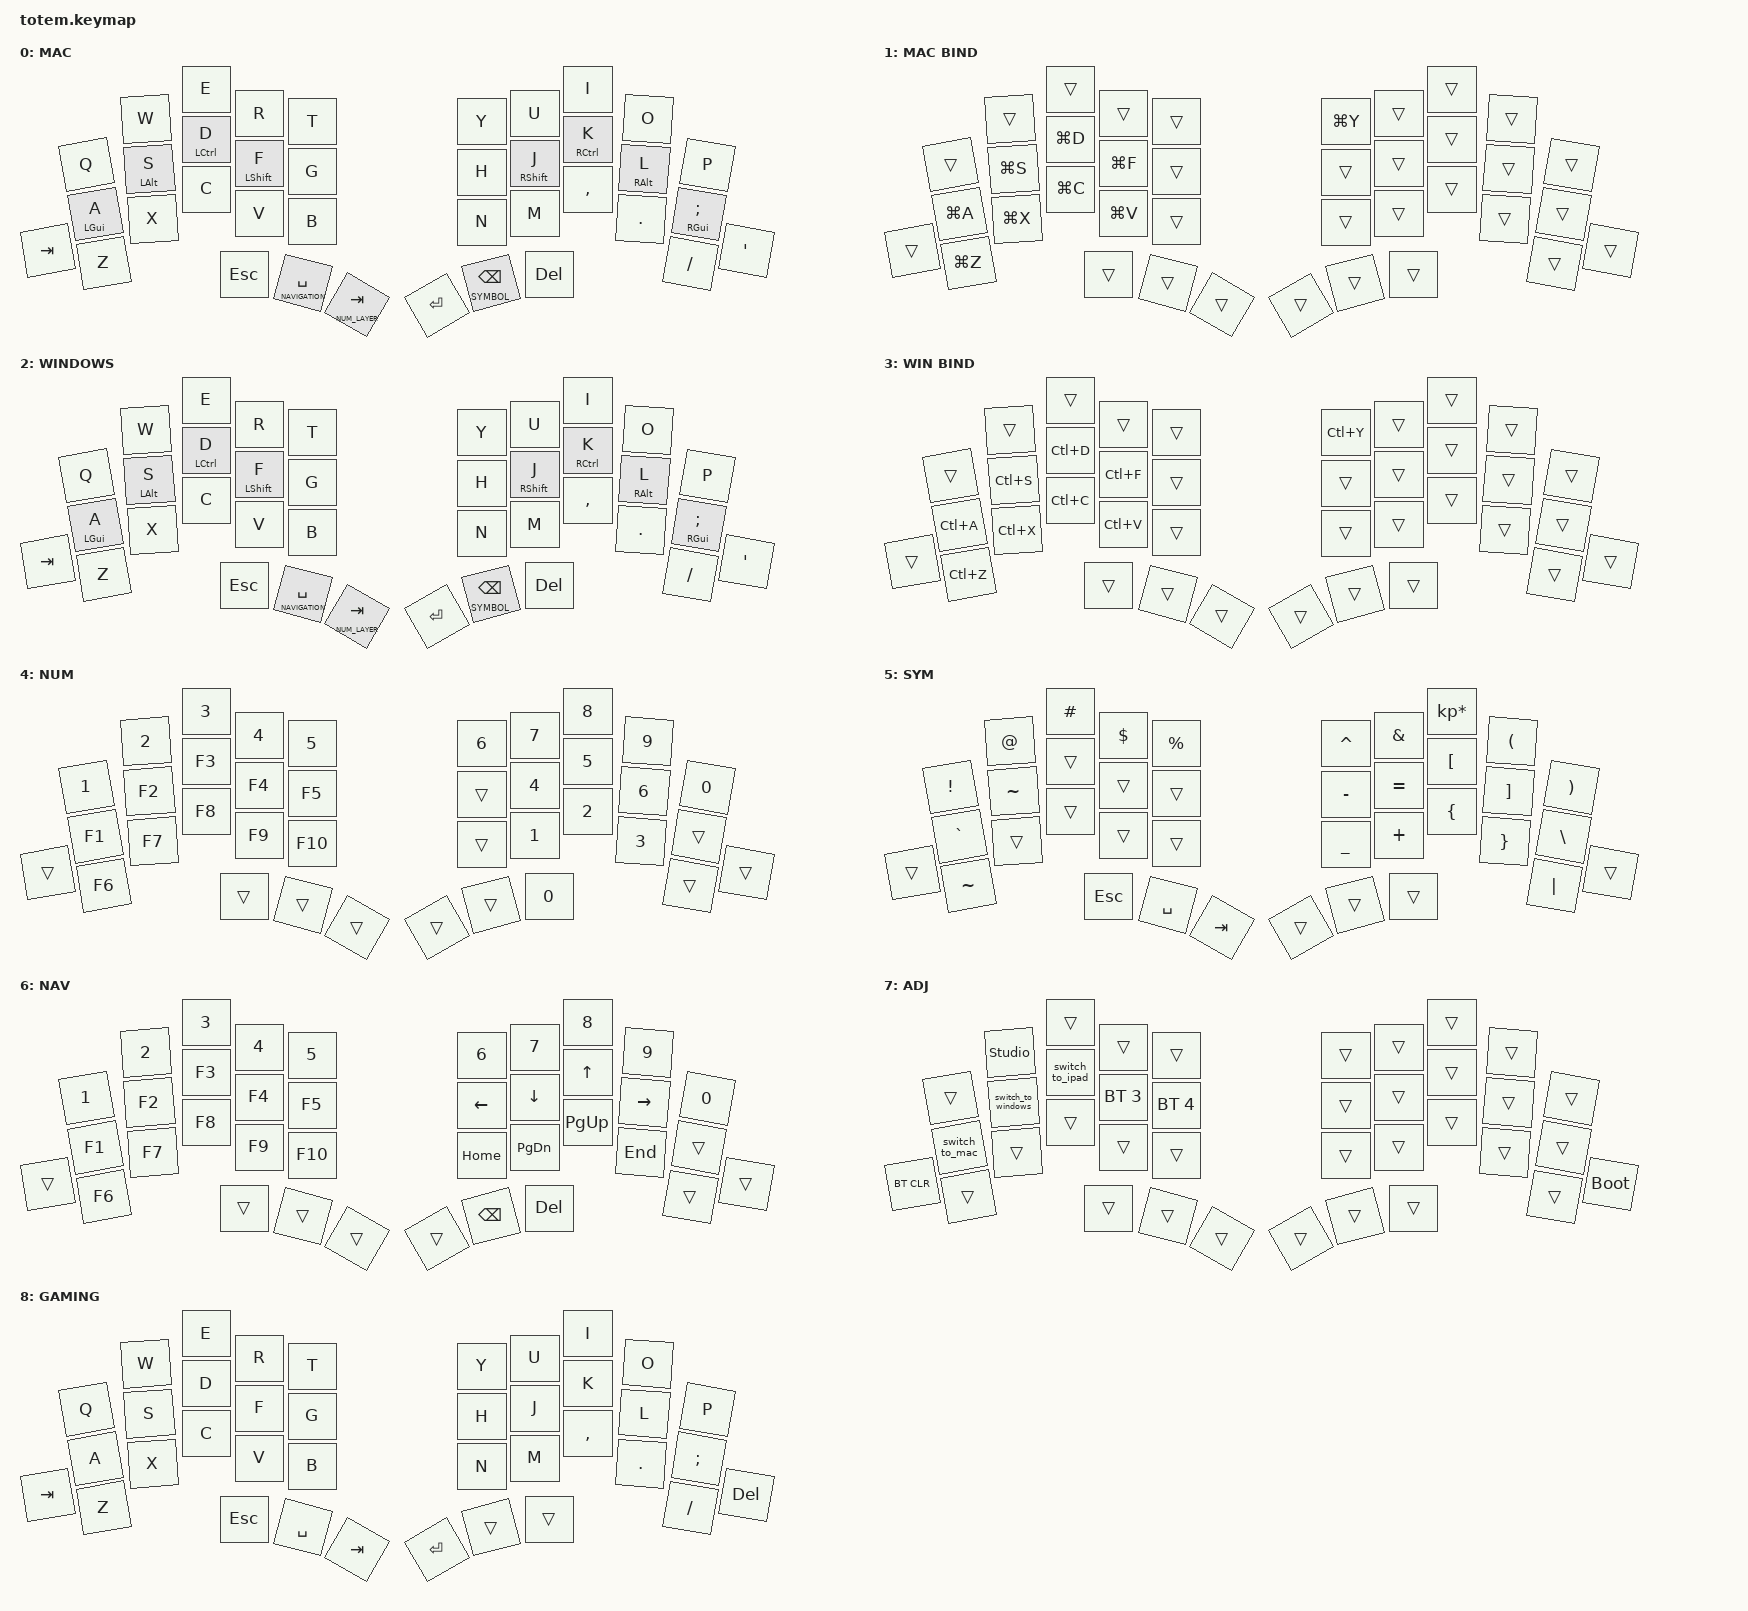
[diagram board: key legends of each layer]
//
//                                                        ▀▀▀▀▀     ▀▀▀▀▀          ▀▀█▀▀
//                                                        ▄▀▀▀▄  ▄  ▄▀▀▀▄  ▄  ▄▀▀▀▄  █  ▄▀▀▀▄
//                                                        █   █  █  █   █  █  █   █  █  █   █
//                                                         ▀▀▀   █   ▀▀▀   █   ▀▀▀   ▀   ▀▀▀
//                                                               █      ▄▄▄█▄▄▄    █   █  
//                                                               ▀      █  █  █     █▄█
//                                                             ▀▀▀▀▀    █  █  █      ▀
//                                                                      ▀  ▀  ▀
//
// ▄▄▄▄▄▄▄▄▄▄▄▄▄▄▄▄▄▄▄▄▄▄▄▄▄▄▄▄▄▄▄▄▄▄▄▄▄▄▄▄▄▄▄▄▄▄▄▄▄▄▄▄▄▄▄▄▄▄▄▄▄▄▄▄▄▄▄▄▄▄▄▄▄▄▄▄▄▄▄▄▄▄▄▄▄▄▄▄▄▄▄▄▄▄▄▄▄▄▄▄▄▄▄▄▄▄▄▄▄▄▄▄▄▄▄▄▄▄▄▄▄▄▄▄▄▄▄▄▄▄▄▄▄▄▄▄▄▄▄▄▄▄▄▄▄▄▄▄▄
       
/*
 * TOTEM 38-KEY LAYOUT - KEY POSITION MAPPING
 * 
 * This mapping is based on the matrix transform in totem.dtsi:
 * Keys are numbered 0-37 from left to right, top to bottom
 * 
 * Physical Layout:
 * ┌─────┬─────┬─────┬─────┬─────┐       ┌─────┬─────┬─────┬─────┬─────┐
 * │  0  │  1  │  2  │  3  │  4  │       │  5  │  6  │  7  │  8  │  9  │
 * ├─────┼─────┼─────┼─────┼─────┤       ├─────┼─────┼─────┼─────┼─────┤
 * │ 10  │ 11  │ 12  │ 13  │ 14  │       │ 15  │ 16  │ 17  │ 18  │ 19  │
 * ├─────┼─────┼─────┼─────┼─────┼─────┐ ┌─────┼─────┼─────┼─────┼─────┼─────┤
 * │ 20  │ 21  │ 22  │ 23  │ 24  │ 25  │ │ 26  │ 27  │ 28  │ 29  │ 30  │ 31  │
 * └─────┴─────┴─────┼─────┼─────┼─────┤ ├─────┼─────┼─────┼─────┴─────┴─────┘
 *                   │ 32  │ 33  │ 34  │ │ 35  │ 36  │ 37  │
 *                   └─────┴─────┴─────┘ └─────┴─────┴─────┘
 * 
 * Matrix Transform (from totem.dtsi):
 * Row 0: RC(0,0) RC(0,1) RC(0,2) RC(0,3) RC(0,4)    RC(0,5) RC(0,6) RC(0,7) RC(0,8) RC(0,9)
 * Row 1: RC(1,0) RC(1,1) RC(1,2) RC(1,3) RC(1,4)    RC(1,5) RC(1,6) RC(1,7) RC(1,8) RC(1,9)
 * Row 2: RC(3,0) RC(2,0) RC(2,1) RC(2,2) RC(2,3) RC(2,4)    RC(2,5) RC(2,6) RC(2,7) RC(2,8) RC(2,9) RC(3,9)
 * Row 3:                         RC(3,2) RC(3,3) RC(3,4)    RC(3,5) RC(3,6) RC(3,7)
 * 
 * This translates to key positions:
 * Row 0: 0, 1, 2, 3, 4,    5, 6, 7, 8, 9
 * Row 1: 10, 11, 12, 13, 14,    15, 16, 17, 18, 19
 * Row 2: 20, 21, 22, 23, 24, 25,    26, 27, 28, 29, 30, 31
 * Row 3:             32, 33, 34,    35, 36, 37
 */

#include <behaviors.dtsi>
#include <dt-bindings/zmk/keys.h>
#include <dt-bindings/zmk/bt.h>
#include <dt-bindings/zmk/outputs.h>

#define MAC 0
#define MAC_BINDINGS 1
#define WINDOWS 2
#define WINDOWS_BINDINGS 3
#define NUM_LAYER   4
#define SYMBOL  5
#define NAVIGATION  6
#define ADJUST  7
#define GAMING  8

// Key position definitions for TOTEM 38-key layout
// These aliases match the physical layout shown above
// Left side: 0 = innermost (closest to center), 4 = outermost
#define LT0  4  // left-top row (innermost)
#define LT1  3
#define LT2  2
#define LT3  1
#define LT4  0  // left-top row (outermost)

#define RT0  5  // right-top row
#define RT1  6
#define RT2  7
#define RT3  8
#define RT4  9

#define LM0  14 // left-middle row (innermost)
#define LM1  13
#define LM2  12
#define LM3  11
#define LM4  10 // left-middle row (outermost)

#define RM0  15 // right-middle row
#define RM1  16
#define RM2  17
#define RM3  18
#define RM4  19

#define LB0  25 // left-bottom row (innermost including outer key)
#define LB1  24
#define LB2  23
#define LB3  22
#define LB4  21
#define LB5  20 // left-bottom row (outermost)

#define RB0  26 // right-bottom row (includes outer key)
#define RB1  27
#define RB2  28
#define RB3  29
#define RB4  30
#define RB5  31

#define LH0  34 // left thumb keys
#define LH1  33
#define LH2  32

#define RH0  35 // right thumb keys
#define RH1  36
#define RH2  37

&mt {
  quick-tap-ms = <100>;
  global-quick-tap;
  flavor = "tap-preferred";
  tapping-term-ms = <170>;
};

/ {
        conditional_layers {
                compatible = "zmk,conditional-layers";
                        tri_layer {
                        if-layers = <NUM_LAYER SYMBOL>;
                        then-layer = <ADJUST>;
                };
        };

        behaviors {
                hml: home_row_mod_left {
                        compatible = "zmk,behavior-hold-tap";
                        label = "HOME_ROW_MOD_LEFT";
                        #binding-cells = <2>;
                        flavor = "balanced";
                        tapping-term-ms = <280>;
                        quick-tap-ms = <175>;
                        bindings = <&kp>, <&kp>;
                        hold-trigger-key-positions = <
                                RT0 RT1 RT2 RT3 RT4      // right top row
                                RM0 RM1 RM2 RM3 RM4      // right middle row
                                RB0 RB1 RB2 RB3 RB4 RB5  // right bottom row
                                RH0 RH1 RH2              // right thumb keys
                        >;
                        hold-trigger-on-release;
                };
                hmr: home_row_mod_right {
                        compatible = "zmk,behavior-hold-tap";
                        label = "HOME_ROW_MOD_RIGHT";
                        #binding-cells = <2>;
                        flavor = "balanced";
                        tapping-term-ms = <280>;
                        quick-tap-ms = <175>;
                        bindings = <&kp>, <&kp>;
                        hold-trigger-key-positions = <
                                LT0 LT1 LT2 LT3 LT4      // left top row
                                LM0 LM1 LM2 LM3 LM4      // left middle row
                                LB0 LB1 LB2 LB3 LB4 LB5  // left bottom row
                                LH0 LH1 LH2              // left thumb keys
                        >;
                        hold-trigger-on-release;
                };
                lt_thumb: layer_tap_thumb {
                        compatible = "zmk,behavior-hold-tap";
                        label = "LAYER_TAP_THUMB";
                        #binding-cells = <2>;
                        tapping-term-ms = <200>;
                        flavor = "balanced";
                        hold-trigger-key-positions = <0 1 2 3 4 5 6 7 8 9 10 11 12 13 14 15 16 17 18 19 20 21 22 23 24 25 26 27 28 29 30 31>;
                        hold-trigger-on-release;
                        retro-tap;
                        global-quick-tap;
                        bindings = <&mo>, <&kp>;
                };
        };

        macros {
                ZMK_MACRO(switch_to_mac, bindings= <&bt BT_SEL 0 &to MAC>;)
                ZMK_MACRO(switch_to_ipad, bindings= <&bt BT_SEL 2 &to MAC>;)
                ZMK_MACRO(switch_to_windows, bindings= <&bt BT_SEL 1 &to WINDOWS>;)
                ZMK_MACRO(toggle_gaming, bindings= <&tog GAMING>;)

                win_app_sw: win_app_sw {
                        label = "WINDOWS_APP_SWITCHER";
                        compatible = "zmk,behavior-macro";
                        #binding-cells = <0>;
                        bindings
                                = <&macro_press &kp LALT>
                                , <&macro_tap &kp TAB>
                                , <&macro_press &mo NAVIGATION>
                                , <&macro_pause_for_release>
                                , <&macro_release &mo NAVIGATION>
                                , <&macro_release &kp LALT>
                                ;
                };     

                mac_app_sw: mac_app_sw {
                        label = "MAC_APP_SWITCHER";
                        compatible = "zmk,behavior-macro";
                        #binding-cells = <0>;
                        bindings
                                = <&macro_press &kp LGUI>
                                , <&macro_tap &kp TAB>
                                , <&macro_press &mo NAVIGATION>
                                , <&macro_pause_for_release>
                                , <&macro_release &mo NAVIGATION>
                                , <&macro_release &kp LGUI>
                                ;
                };  
        };

        combos {
                compatible = "zmk,combos";
                combo_spotlight {         
                        timeout-ms = <50>;
                        key-positions = <LH0 RH0>;
                        bindings = <&kp LG(SPACE)>;
                        layers = <MAC>;
                };

                combo_sticky_shift_mac {
                        timeout-ms = <50>;
                        key-positions = <RT1 RT3>;  // U and O keys
                        bindings = <&sk LSHFT>;
                        layers = <MAC>;
                };

                combo_caps_word_mac {
                        timeout-ms = <50>;
                        key-positions = <RT1 RT2 RT3>;  // U, I, and O keys
                        bindings = <&caps_word>;
                        layers = <MAC>;
                };

                combo_spotlight_windows {         
                        timeout-ms = <50>;
                        key-positions = <LH0 RH0>;
                        bindings = <&kp LA(SPACE)>;
                        layers = <WINDOWS>;
                };

                combo_sticky_shift_windows {
                        timeout-ms = <50>;
                        key-positions = <RT1 RT3>;  // U and O keys
                        bindings = <&sk LSHFT>;
                        layers = <WINDOWS>;
                };

                combo_caps_word_windows {
                        timeout-ms = <50>;
                        key-positions = <RT1 RT2 RT3>;  // U, I, and O keys
                        bindings = <&caps_word>;
                        layers = <WINDOWS>;
                };

                combo_app_switcher_windows {         
                        timeout-ms = <50>;
                        key-positions = <LM4 LM3 LM2 LM1>;
                        bindings = <&win_app_sw>;
                        layers = <WINDOWS>;
                };

                combo_copy_windows {         
                        timeout-ms = <50>;
                        key-positions = <LB3 LB2>;
                        bindings = <&kp LC(C)>;
                        layers = <WINDOWS>;
                };
                combo_paste_windows {         
                        timeout-ms = <50>;
                        key-positions = <LB2 LB1>;
                        bindings = <&kp LC(V)>;
                        layers = <WINDOWS>;
                };
                combo_cut_windows {         
                        timeout-ms = <50>;
                        key-positions = <LB3 LB1>;
                        bindings = <&kp LC(X)>;
                        layers = <WINDOWS>;
                };
                combo_undo_windows {         
                        timeout-ms = <50>;
                        key-positions = <LB4 LB3>;
                        bindings = <&kp LC(Z)>;
                        layers = <WINDOWS>;
                };
                combo_select_windows {         
                        timeout-ms = <50>;
                        key-positions = <LM4 LM1>;
                        bindings = <&kp LC(A)>;
                        layers = <WINDOWS>;
                };
                combo_find_windows {         
                        timeout-ms = <50>;
                        key-positions = <LM2 LM1>;
                        bindings = <&kp LC(F)>;
                        layers = <WINDOWS>;
                };
                combo_close_window_windows {         
                        timeout-ms = <50>;
                        key-positions = <LT3 LT1>;
                        bindings = <&kp LC(W)>;
                        layers = <WINDOWS>;
                };
                
                combo_app_switcher_mac {         
                        timeout-ms = <50>;
                        key-positions = <LM4 LM3 LM2 LM1>;
                        bindings = <&mac_app_sw>;
                        layers = <MAC>;
                };
                
                combo_copy_mac {         
                        timeout-ms = <50>;
                        key-positions = <LB3 LB2>;
                        bindings = <&kp LG(C)>;
                        layers = <MAC>;
                };
                combo_paste_mac {         
                        timeout-ms = <50>;
                        key-positions = <LB2 LB1>;
                        bindings = <&kp LG(V)>;
                        layers = <MAC>;
                };
                combo_cut_mac {         
                        timeout-ms = <50>;
                        key-positions = <LB3 LB1>;
                        bindings = <&kp LG(X)>;
                        layers = <MAC>;
                };
                combo_undo_mac {         
                        timeout-ms = <50>;
                        key-positions = <LB4 LB3>;
                        bindings = <&kp LG(Z)>;
                        layers = <MAC>;
                };
                combo_select_mac {         
                        timeout-ms = <50>;
                        key-positions = <LM4 LM1>;
                        bindings = <&kp LG(A)>;
                        layers = <MAC>;
                };
                combo_find_mac {         
                        timeout-ms = <50>;
                        key-positions = <LM2 LM1>;
                        bindings = <&kp LG(F)>;
                        layers = <MAC>;
                };
                combo_close_window_mac {
                        timeout-ms = <50>;
                        key-positions = <LT3 LT1>;
                        bindings = <&kp LG(W)>;
                        layers = <MAC>;
                };

                combo_toggle_gaming {
                        timeout-ms = <50>;
                        key-positions = <LH2 RH2>;
                        bindings = <&toggle_gaming>;
                        layers = <WINDOWS GAMING>;
                };
        };

        keymap {
                compatible = "zmk,keymap";

// ▄▄▄▄▄▄▄▄▄▄▄▄▄▄▄▄▄▄▄▄▄▄▄▄▄▄▄▄▄▄▄▄▄▄▄▄▄▄▄▄▄▄▄▄▄▄▄▄▄▄▄▄▄▄▄▄▄▄▄▄▄▄▄▄▄▄▄▄▄▄▄▄▄▄▄▄▄▄▄▄▄▄▄▄▄▄▄▄▄▄▄▄▄▄▄▄▄▄▄▄▄▄▄▄▄▄▄▄▄▄▄▄▄▄▄▄▄▄▄▄▄▄▄▄▄▄▄▄▄▄▄▄▄▄▄▄▄▄▄▄▄▄▄▄▄▄▄▄▄

                mac_layer {
// ┏━━━━━━━━━━━━━━━━━━━━━━━━━━━━━━━━━━━━━━━┓
label= "MAC"                               ;
// ┗━━━━━━━━━━━━━━━━━━━━━━━━━━━━━━━━━━━━━━━┛
//             ┏━━━━━━━━━━━┳━━━━━━━━━━━┳━━━━━━━━━━━┳━━━━━━━━━━━┳━━━━━━━━━━━┓   ┏━━━━━━━━━━━┳━━━━━━━━━━━┳━━━━━━━━━━━┳━━━━━━━━━━━┳━━━━━━━━━━━┓
//             ┃     Q     ┃     W     ┃     E     ┃     R     ┃     T     ┃   ┃     Y     ┃     U     ┃     I     ┃     O     ┃     P     ┃
//             ┣━━━━━━━━━━━╋━━━━━━━━━━━╋━━━━━━━━━━━╋━━━━━━━━━━━╋━━━━━━━━━━━┫   ┣━━━━━━━━━━━╋━━━━━━━━━━━╋━━━━━━━━━━━╋━━━━━━━━━━━╋━━━━━━━━━━━┫
//             ┃   GUI/A   ┃   ALT/S   ┃  CTRL/D   ┃  SHFT/F   ┃     G     ┃   ┃     H     ┃  SHFT/J   ┃  CTRL/K   ┃   ALT/L   ┃   GUI/;   ┃
// ┏━━━━━━━━━━━╋━━━━━━━━━━━╋━━━━━━━━━━━╋━━━━━━━━━━━╋━━━━━━━━━━━╋━━━━━━━━━━━┫   ┣━━━━━━━━━━━╋━━━━━━━━━━━╋━━━━━━━━━━━╋━━━━━━━━━━━╋━━━━━━━━━━━╋━━━━━━━━━━━┓
// ┃    TAB    ┃     Z     ┃     X     ┃     C     ┃     V     ┃     B     ┃   ┃     N     ┃     M     ┃     ,     ┃     .     ┃     /     ┃    SQT    ┃
// ┗━━━━━━━━━━━┻━━━━━━━━━━━┻━━━━━━━━━━━╋━━━━━━━━━━━╋━━━━━━━━━━━╋━━━━━━━━━━━┫   ┣━━━━━━━━━━━╋━━━━━━━━━━━╋━━━━━━━━━━━╋━━━━━━━━━━━┻━━━━━━━━━━━┻━━━━━━━━━━━┛
//                                     ┃    ESC    ┃ NAV/SPACE ┃ NUM/TAB   ┃   ┃   RET     ┃ SYM/BSPC  ┃    DEL    ┃
//                                     ┗━━━━━━━━━━━┻━━━━━━━━━━━┻━━━━━━━━━━━┛   ┗━━━━━━━━━━━┻━━━━━━━━━━━┻━━━━━━━━━━━┛
 bindings = <
// ╷           ╷           ╷           ╷           ╷           ╷           ╷   ╷           ╷           ╷           ╷           ╷           ╷           ╷

                &kp Q       &kp W       &kp E       &kp R       &kp T           &kp Y       &kp U       &kp I       &kp O       &kp P
                &hml LGUI A &hml LALT S &hml LCTRL D &hml LSHFT F &kp G          &kp H       &hmr RSHFT J &hmr RCTRL K &hmr RALT L &hmr RGUI SEMI
    &kp TAB     &kp Z       &kp X       &kp C       &kp V       &kp B           &kp N       &kp M       &kp COMMA   &kp DOT     &kp FSLH    &kp SQT
                                        &kp ESC     &lt_thumb NAVIGATION SPACE &lt_thumb NUM_LAYER TAB &kp RET &lt_thumb SYMBOL BSPC &kp DEL
                        >;
                };

// ▄▄▄▄▄▄▄▄▄▄▄▄▄▄▄▄▄▄▄▄▄▄▄▄▄▄▄▄▄▄▄▄▄▄▄▄▄▄▄▄▄▄▄▄▄▄▄▄▄▄▄▄▄▄▄▄▄▄▄▄▄▄▄▄▄▄▄▄▄▄▄▄▄▄▄▄▄▄▄▄▄▄▄▄▄▄▄▄▄▄▄▄▄▄▄▄▄▄▄▄▄▄▄▄▄▄▄▄▄▄▄▄▄▄▄▄▄▄▄▄▄▄▄▄▄▄▄▄▄▄▄▄▄▄▄▄▄▄▄▄▄▄▄▄▄▄▄▄▄▄

                mac_bindings_layer {
// ┏━━━━━━━━━━━━━━━━━━━━━━━━━━━━━━━━━━━━━━━┓
label= "MAC BIND"                          ;
// ┗━━━━━━━━━━━━━━━━━━━━━━━━━━━━━━━━━━━━━━━┛
 bindings = <
// ╷           ╷           ╷           ╷           ╷           ╷           ╷   ╷           ╷           ╷           ╷           ╷           ╷           ╷

                &trans      &trans      &trans      &trans      &trans          &kp LG(Y)   &trans      &trans      &trans      &trans
                &kp LG(A)   &kp LG(S)   &kp LG(D)   &kp LG(F)   &trans          &trans      &trans      &trans      &trans      &trans
    &trans      &kp LG(Z)   &kp LG(X)   &kp LG(C)   &kp LG(V)   &trans          &trans      &trans      &trans      &trans      &trans      &trans
                                        &trans      &trans      &trans          &trans      &trans      &trans
                        >;
                };

// ▄▄▄▄▄▄▄▄▄▄▄▄▄▄▄▄▄▄▄▄▄▄▄▄▄▄▄▄▄▄▄▄▄▄▄▄▄▄▄▄▄▄▄▄▄▄▄▄▄▄▄▄▄▄▄▄▄▄▄▄▄▄▄▄▄▄▄▄▄▄▄▄▄▄▄▄▄▄▄▄▄▄▄▄▄▄▄▄▄▄▄▄▄▄▄▄▄▄▄▄▄▄▄▄▄▄▄▄▄▄▄▄▄▄▄▄▄▄▄▄▄▄▄▄▄▄▄▄▄▄▄▄▄▄▄▄▄▄▄▄▄▄▄▄▄▄▄▄▄

                windows_layer {
// ┏━━━━━━━━━━━━━━━━━━━━━━━━━━━━━━━━━━━━━━━┓
label= "WINDOWS"                           ;
// ┗━━━━━━━━━━━━━━━━━━━━━━━━━━━━━━━━━━━━━━━┛
//             ┏━━━━━━━━━━━┳━━━━━━━━━━━┳━━━━━━━━━━━┳━━━━━━━━━━━┳━━━━━━━━━━━┓   ┏━━━━━━━━━━━┳━━━━━━━━━━━┳━━━━━━━━━━━┳━━━━━━━━━━━┳━━━━━━━━━━━┓
//             ┃     Q     ┃     W     ┃     E     ┃     R     ┃     T     ┃   ┃     Y     ┃     U     ┃     I     ┃     O     ┃     P     ┃
//             ┣━━━━━━━━━━━╋━━━━━━━━━━━╋━━━━━━━━━━━╋━━━━━━━━━━━╋━━━━━━━━━━━┫   ┣━━━━━━━━━━━╋━━━━━━━━━━━╋━━━━━━━━━━━╋━━━━━━━━━━━╋━━━━━━━━━━━┫
//             ┃   GUI/A   ┃   ALT/S   ┃  CTRL/D   ┃  SHFT/F   ┃     G     ┃   ┃     H     ┃  SHFT/J   ┃  CTRL/K   ┃   ALT/L   ┃   GUI/;   ┃
// ┏━━━━━━━━━━━╋━━━━━━━━━━━╋━━━━━━━━━━━╋━━━━━━━━━━━╋━━━━━━━━━━━╋━━━━━━━━━━━┫   ┣━━━━━━━━━━━╋━━━━━━━━━━━╋━━━━━━━━━━━╋━━━━━━━━━━━╋━━━━━━━━━━━╋━━━━━━━━━━━┓
// ┃    TAB    ┃     Z     ┃     X     ┃     C     ┃     V     ┃     B     ┃   ┃     N     ┃     M     ┃     ,     ┃     .     ┃     /     ┃    SQT    ┃
// ┗━━━━━━━━━━━┻━━━━━━━━━━━┻━━━━━━━━━━━╋━━━━━━━━━━━╋━━━━━━━━━━━╋━━━━━━━━━━━┫   ┣━━━━━━━━━━━╋━━━━━━━━━━━╋━━━━━━━━━━━╋━━━━━━━━━━━┻━━━━━━━━━━━┻━━━━━━━━━━━┛
//                                     ┃    ESC    ┃ NAV/SPACE ┃ NUM/TAB   ┃   ┃   RET     ┃ SYM/BSPC  ┃    DEL    ┃
//                                     ┗━━━━━━━━━━━┻━━━━━━━━━━━┻━━━━━━━━━━━┛   ┗━━━━━━━━━━━┻━━━━━━━━━━━┻━━━━━━━━━━━┛
 bindings = <
// ╷           ╷           ╷           ╷           ╷           ╷           ╷   ╷           ╷           ╷           ╷           ╷           ╷           ╷

                &kp Q       &kp W       &kp E       &kp R       &kp T           &kp Y       &kp U       &kp I       &kp O       &kp P
                &hml LGUI A &hml LALT S &hml LCTRL D &hml LSHFT F &kp G          &kp H       &hmr RSHFT J &hmr RCTRL K &hmr RALT L &hmr RGUI SEMI
    &kp TAB     &kp Z       &kp X       &kp C       &kp V       &kp B           &kp N       &kp M       &kp COMMA   &kp DOT     &kp FSLH    &kp SQT
                                        &kp ESC     &lt_thumb NAVIGATION SPACE &lt_thumb NUM_LAYER TAB &kp RET &lt_thumb SYMBOL BSPC &kp DEL
                        >;
                };

// ▄▄▄▄▄▄▄▄▄▄▄▄▄▄▄▄▄▄▄▄▄▄▄▄▄▄▄▄▄▄▄▄▄▄▄▄▄▄▄▄▄▄▄▄▄▄▄▄▄▄▄▄▄▄▄▄▄▄▄▄▄▄▄▄▄▄▄▄▄▄▄▄▄▄▄▄▄▄▄▄▄▄▄▄▄▄▄▄▄▄▄▄▄▄▄▄▄▄▄▄▄▄▄▄▄▄▄▄▄▄▄▄▄▄▄▄▄▄▄▄▄▄▄▄▄▄▄▄▄▄▄▄▄▄▄▄▄▄▄▄▄▄▄▄▄▄▄▄▄▄

                windows_bindings_layer {
// ┏━━━━━━━━━━━━━━━━━━━━━━━━━━━━━━━━━━━━━━━┓
label= "WIN BIND"                          ;
// ┗━━━━━━━━━━━━━━━━━━━━━━━━━━━━━━━━━━━━━━━┛
 bindings = <
// ╷           ╷           ╷           ╷           ╷           ╷           ╷   ╷           ╷           ╷           ╷           ╷           ╷           ╷

                &trans      &trans      &trans      &trans      &trans          &kp LC(Y)   &trans      &trans      &trans      &trans
                &kp LC(A)   &kp LC(S)   &kp LC(D)   &kp LC(F)   &trans          &trans      &trans      &trans      &trans      &trans
    &trans      &kp LC(Z)   &kp LC(X)   &kp LC(C)   &kp LC(V)   &trans          &trans      &trans      &trans      &trans      &trans      &trans
                                        &trans      &trans      &trans          &trans      &trans      &trans
                        >;
                };

// ▄▄▄▄▄▄▄▄▄▄▄▄▄▄▄▄▄▄▄▄▄▄▄▄▄▄▄▄▄▄▄▄▄▄▄▄▄▄▄▄▄▄▄▄▄▄▄▄▄▄▄▄▄▄▄▄▄▄▄▄▄▄▄▄▄▄▄▄▄▄▄▄▄▄▄▄▄▄▄▄▄▄▄▄▄▄▄▄▄▄▄▄▄▄▄▄▄▄▄▄▄▄▄▄▄▄▄▄▄▄▄▄▄▄▄▄▄▄▄▄▄▄▄▄▄▄▄▄▄▄▄▄▄▄▄▄▄▄▄▄▄▄▄▄▄▄▄▄▄

                num_layer {
// ┏━━━━━━━━━━━━━━━━━━━━━━━━━━━━━━━━━━━━━━━┓
label= "NUM"                               ;
// ┗━━━━━━━━━━━━━━━━━━━━━━━━━━━━━━━━━━━━━━━┛
//             ┏━━━━━━━━━━━┳━━━━━━━━━━━┳━━━━━━━━━━━┳━━━━━━━━━━━┳━━━━━━━━━━━┓   ┏━━━━━━━━━━━┳━━━━━━━━━━━┳━━━━━━━━━━━┳━━━━━━━━━━━┳━━━━━━━━━━━┓
//             ┃     1     ┃     2     ┃     3     ┃     4     ┃     5     ┃   ┃     6     ┃     7     ┃     8     ┃     9     ┃     0     ┃
//             ┣━━━━━━━━━━━╋━━━━━━━━━━━╋━━━━━━━━━━━╋━━━━━━━━━━━╋━━━━━━━━━━━┫   ┣━━━━━━━━━━━╋━━━━━━━━━━━╋━━━━━━━━━━━╋━━━━━━━━━━━╋━━━━━━━━━━━┫
//             ┃     F1    ┃     F2    ┃     F3    ┃     F4    ┃     F5    ┃   ┃   TRANS   ┃     4     ┃     5     ┃     6     ┃   TRANS   ┃
// ┏━━━━━━━━━━━╋━━━━━━━━━━━╋━━━━━━━━━━━╋━━━━━━━━━━━╋━━━━━━━━━━━╋━━━━━━━━━━━┫   ┣━━━━━━━━━━━╋━━━━━━━━━━━╋━━━━━━━━━━━╋━━━━━━━━━━━╋━━━━━━━━━━━╋━━━━━━━━━━━┓
// ┃   TRANS   ┃     F6    ┃     F7    ┃     F8    ┃     F9    ┃    F10    ┃   ┃   TRANS   ┃     1     ┃     2     ┃     3     ┃   TRANS   ┃   TRANS   ┃
// ┗━━━━━━━━━━━┻━━━━━━━━━━━┻━━━━━━━━━━━╋━━━━━━━━━━━╋━━━━━━━━━━━╋━━━━━━━━━━━┫   ┣━━━━━━━━━━━╋━━━━━━━━━━━╋━━━━━━━━━━━╋━━━━━━━━━━━┻━━━━━━━━━━━┻━━━━━━━━━━━┛
//                                     ┃   TRANS   ┃   TRANS   ┃   TRANS   ┃   ┃   TRANS   ┃   TRANS   ┃     0     ┃
//                                     ┗━━━━━━━━━━━┻━━━━━━━━━━━┻━━━━━━━━━━━┛   ┗━━━━━━━━━━━┻━━━━━━━━━━━┻━━━━━━━━━━━┛
 bindings = <
// ╷           ╷           ╷           ╷           ╷           ╷           ╷   ╷           ╷           ╷           ╷           ╷           ╷           ╷

                &kp N1      &kp N2      &kp N3      &kp N4      &kp N5          &kp N6      &kp N7      &kp N8      &kp N9      &kp N0
                &kp F1      &kp F2      &kp F3      &kp F4      &kp F5          &trans      &kp N4      &kp N5      &kp N6      &trans
    &trans      &kp F6      &kp F7      &kp F8      &kp F9      &kp F10         &trans      &kp N1      &kp N2      &kp N3      &trans      &trans
                                        &trans      &trans      &trans          &trans      &trans      &kp N0
                        >;
                };

// ▄▄▄▄▄▄▄▄▄▄▄▄▄▄▄▄▄▄▄▄▄▄▄▄▄▄▄▄▄▄▄▄▄▄▄▄▄▄▄▄▄▄▄▄▄▄▄▄▄▄▄▄▄▄▄▄▄▄▄▄▄▄▄▄▄▄▄▄▄▄▄▄▄▄▄▄▄▄▄▄▄▄▄▄▄▄▄▄▄▄▄▄▄▄▄▄▄▄▄▄▄▄▄▄▄▄▄▄▄▄▄▄▄▄▄▄▄▄▄▄▄▄▄▄▄▄▄▄▄▄▄▄▄▄▄▄▄▄▄▄▄▄▄▄▄▄▄▄▄

                symbol_layer {
// ┏━━━━━━━━━━━━━━━━━━━━━━━━━━━━━━━━━━━━━━━┓
label= "SYM"                               ;
// ┗━━━━━━━━━━━━━━━━━━━━━━━━━━━━━━━━━━━━━━━┛
//             ┏━━━━━━━━━━━┳━━━━━━━━━━━┳━━━━━━━━━━━┳━━━━━━━━━━━┳━━━━━━━━━━━┓   ┏━━━━━━━━━━━┳━━━━━━━━━━━┳━━━━━━━━━━━┳━━━━━━━━━━━┳━━━━━━━━━━━┓
//             ┃     !     ┃     @     ┃     #     ┃     $     ┃     %     ┃   ┃     ^     ┃     &     ┃     *     ┃     (     ┃     )     ┃
//             ┣━━━━━━━━━━━╋━━━━━━━━━━━╋━━━━━━━━━━━╋━━━━━━━━━━━╋━━━━━━━━━━━┫   ┣━━━━━━━━━━━╋━━━━━━━━━━━╋━━━━━━━━━━━╋━━━━━━━━━━━╋━━━━━━━━━━━┫
//             ┃     `     ┃     ~     ┃   TRANS   ┃   TRANS   ┃   TRANS   ┃   ┃     -     ┃     =     ┃     [     ┃     ]     ┃     \     ┃
// ┏━━━━━━━━━━━╋━━━━━━━━━━━╋━━━━━━━━━━━╋━━━━━━━━━━━╋━━━━━━━━━━━╋━━━━━━━━━━━┫   ┣━━━━━━━━━━━╋━━━━━━━━━━━╋━━━━━━━━━━━╋━━━━━━━━━━━╋━━━━━━━━━━━╋━━━━━━━━━━━┓
// ┃   TRANS   ┃     ~     ┃   TRANS   ┃   TRANS   ┃   TRANS   ┃   TRANS   ┃   ┃     _     ┃     +     ┃     {     ┃     }     ┃     |     ┃   TRANS   ┃
// ┗━━━━━━━━━━━┻━━━━━━━━━━━┻━━━━━━━━━━━╋━━━━━━━━━━━╋━━━━━━━━━━━╋━━━━━━━━━━━┫   ┣━━━━━━━━━━━╋━━━━━━━━━━━╋━━━━━━━━━━━╋━━━━━━━━━━━┻━━━━━━━━━━━┻━━━━━━━━━━━┛
//                                     ┃    ESC    ┃   SPACE   ┃    TAB    ┃   ┃   TRANS   ┃   TRANS   ┃   TRANS   ┃
//                                     ┗━━━━━━━━━━━┻━━━━━━━━━━━┻━━━━━━━━━━━┛   ┗━━━━━━━━━━━┻━━━━━━━━━━━┻━━━━━━━━━━━┛
 bindings = <
// ╷           ╷           ╷           ╷           ╷           ╷           ╷   ╷           ╷           ╷           ╷           ╷           ╷           ╷

                &kp EXCL    &kp AT      &kp HASH    &kp DLLR    &kp PRCNT       &kp CARET   &kp AMPS    &kp KP_MULTIPLY &kp LPAR    &kp RPAR
                &kp GRAVE   &kp TILDE   &trans      &trans      &trans          &kp MINUS   &kp EQUAL   &kp LBKT    &kp RBKT    &kp BSLH
    &trans      &kp TILDE   &trans      &trans      &trans      &trans          &kp UNDER   &kp PLUS    &kp LBRC    &kp RBRC    &kp PIPE    &trans
                                        &kp ESC     &kp SPACE   &kp TAB         &trans      &trans      &trans
                        >;
                };

// ▄▄▄▄▄▄▄▄▄▄▄▄▄▄▄▄▄▄▄▄▄▄▄▄▄▄▄▄▄▄▄▄▄▄▄▄▄▄▄▄▄▄▄▄▄▄▄▄▄▄▄▄▄▄▄▄▄▄▄▄▄▄▄▄▄▄▄▄▄▄▄▄▄▄▄▄▄▄▄▄▄▄▄▄▄▄▄▄▄▄▄▄▄▄▄▄▄▄▄▄▄▄▄▄▄▄▄▄▄▄▄▄▄▄▄▄▄▄▄▄▄▄▄▄▄▄▄▄▄▄▄▄▄▄▄▄▄▄▄▄▄▄▄▄▄▄▄▄▄▄

                navigation_layer {
// ┏━━━━━━━━━━━━━━━━━━━━━━━━━━━━━━━━━━━━━━━┓
label= "NAV"                               ;
// ┗━━━━━━━━━━━━━━━━━━━━━━━━━━━━━━━━━━━━━━━┛
//             ┏━━━━━━━━━━━┳━━━━━━━━━━━┳━━━━━━━━━━━┳━━━━━━━━━━━┳━━━━━━━━━━━┓   ┏━━━━━━━━━━━┳━━━━━━━━━━━┳━━━━━━━━━━━┳━━━━━━━━━━━┳━━━━━━━━━━━┓
//             ┃     1     ┃     2     ┃     3     ┃     4     ┃     5     ┃   ┃     6     ┃     7     ┃     8     ┃     9     ┃     0     ┃
//             ┣━━━━━━━━━━━╋━━━━━━━━━━━╋━━━━━━━━━━━╋━━━━━━━━━━━╋━━━━━━━━━━━┫   ┣━━━━━━━━━━━╋━━━━━━━━━━━╋━━━━━━━━━━━╋━━━━━━━━━━━╋━━━━━━━━━━━┫
//             ┃     F1    ┃     F2    ┃     F3    ┃     F4    ┃     F5    ┃   ┃    LEFT   ┃    DOWN   ┃     UP    ┃   RIGHT   ┃   TRANS   ┃
// ┏━━━━━━━━━━━╋━━━━━━━━━━━╋━━━━━━━━━━━╋━━━━━━━━━━━╋━━━━━━━━━━━╋━━━━━━━━━━━┫   ┣━━━━━━━━━━━╋━━━━━━━━━━━╋━━━━━━━━━━━╋━━━━━━━━━━━╋━━━━━━━━━━━╋━━━━━━━━━━━┓
// ┃   TRANS   ┃     F6    ┃     F7    ┃     F8    ┃     F9    ┃    F10    ┃   ┃    HOME   ┃   PG_DN   ┃   PG_UP   ┃    END    ┃   TRANS   ┃   TRANS   ┃
// ┗━━━━━━━━━━━┻━━━━━━━━━━━┻━━━━━━━━━━━╋━━━━━━━━━━━╋━━━━━━━━━━━╋━━━━━━━━━━━┫   ┣━━━━━━━━━━━╋━━━━━━━━━━━╋━━━━━━━━━━━╋━━━━━━━━━━━┻━━━━━━━━━━━┻━━━━━━━━━━━┛
//                                     ┃   TRANS   ┃   TRANS   ┃   TRANS   ┃   ┃   TRANS   ┃   BSPC    ┃    DEL    ┃
//                                     ┗━━━━━━━━━━━┻━━━━━━━━━━━┻━━━━━━━━━━━┛   ┗━━━━━━━━━━━┻━━━━━━━━━━━┻━━━━━━━━━━━┛
 bindings = <
// ╷           ╷           ╷           ╷           ╷           ╷           ╷   ╷           ╷           ╷           ╷           ╷           ╷           ╷

                &kp N1      &kp N2      &kp N3      &kp N4      &kp N5          &kp N6      &kp N7      &kp N8      &kp N9      &kp N0
                &kp F1      &kp F2      &kp F3      &kp F4      &kp F5          &kp LEFT    &kp DOWN    &kp UP      &kp RIGHT   &trans
    &trans      &kp F6      &kp F7      &kp F8      &kp F9      &kp F10         &kp HOME    &kp PG_DN   &kp PG_UP   &kp END     &trans      &trans
                                        &trans      &trans      &trans          &trans      &kp BSPC    &kp DEL
                        >;
                };

// ▄▄▄▄▄▄▄▄▄▄▄▄▄▄▄▄▄▄▄▄▄▄▄▄▄▄▄▄▄▄▄▄▄▄▄▄▄▄▄▄▄▄▄▄▄▄▄▄▄▄▄▄▄▄▄▄▄▄▄▄▄▄▄▄▄▄▄▄▄▄▄▄▄▄▄▄▄▄▄▄▄▄▄▄▄▄▄▄▄▄▄▄▄▄▄▄▄▄▄▄▄▄▄▄▄▄▄▄▄▄▄▄▄▄▄▄▄▄▄▄▄▄▄▄▄▄▄▄▄▄▄▄▄▄▄▄▄▄▄▄▄▄▄▄▄▄▄▄▄

                adjust_layer {
// ┏━━━━━━━━━━━━━━━━━━━━━━━━━━━━━━━━━━━━━━━┓
label= "ADJ"                               ;
// ┗━━━━━━━━━━━━━━━━━━━━━━━━━━━━━━━━━━━━━━━┛
//             ┏━━━━━━━━━━━┳━━━━━━━━━━━┳━━━━━━━━━━━┳━━━━━━━━━━━┳━━━━━━━━━━━┓   ┏━━━━━━━━━━━┳━━━━━━━━━━━┳━━━━━━━━━━━┳━━━━━━━━━━━┳━━━━━━━━━━━┓
//             ┃ TRANS ┃ Studio Unlock   ┃   TRANS   ┃   TRANS   ┃   TRANS   ┃   ┃   TRANS   ┃   TRANS   ┃   TRANS   ┃   TRANS   ┃   TRANS   ┃
//             ┣━━━━━━━━━━━╋━━━━━━━━━━━╋━━━━━━━━━━━╋━━━━━━━━━━━╋━━━━━━━━━━━┫   ┣━━━━━━━━━━━╋━━━━━━━━━━━╋━━━━━━━━━━━╋━━━━━━━━━━━╋━━━━━━━━━━━┫
//             ┃  BT MAC   ┃  BT WIN   ┃  BT IPAD  ┃   BT 3    ┃   BT 4    ┃   ┃   TRANS   ┃   TRANS   ┃   TRANS   ┃   TRANS   ┃   TRANS   ┃
// ┏━━━━━━━━━━━╋━━━━━━━━━━━╋━━━━━━━━━━━╋━━━━━━━━━━━╋━━━━━━━━━━━╋━━━━━━━━━━━┫   ┣━━━━━━━━━━━╋━━━━━━━━━━━╋━━━━━━━━━━━╋━━━━━━━━━━━╋━━━━━━━━━━━╋━━━━━━━━━━━┓
// ┃  BT CLR   ┃   TRANS   ┃   TRANS   ┃   TRANS   ┃   TRANS   ┃   TRANS   ┃   ┃   TRANS   ┃   TRANS   ┃   TRANS   ┃   TRANS   ┃   TRANS   ┃BOOTLOADER ┃
// ┗━━━━━━━━━━━┻━━━━━━━━━━━┻━━━━━━━━━━━╋━━━━━━━━━━━╋━━━━━━━━━━━╋━━━━━━━━━━━┫   ┣━━━━━━━━━━━╋━━━━━━━━━━━╋━━━━━━━━━━━╋━━━━━━━━━━━┻━━━━━━━━━━━┻━━━━━━━━━━━┛
//                                     ┃   TRANS   ┃   TRANS   ┃   TRANS   ┃   ┃   TRANS   ┃   TRANS   ┃   TRANS   ┃
//                                     ┗━━━━━━━━━━━┻━━━━━━━━━━━┻━━━━━━━━━━━┛   ┗━━━━━━━━━━━┻━━━━━━━━━━━┻━━━━━━━━━━━┛
 bindings = <
// ╷           ╷           ╷           ╷           ╷           ╷           ╷   ╷           ╷           ╷           ╷           ╷           ╷           ╷

                &trans      &studio_unlock      &trans      &trans      &trans          &trans      &trans      &trans      &trans      &trans
                &switch_to_mac &switch_to_windows &switch_to_ipad &bt BT_SEL 3 &bt BT_SEL 4 &trans     &trans      &trans      &trans      &trans
    &bt BT_CLR  &trans      &trans      &trans      &trans      &trans          &trans      &trans      &trans      &trans      &trans      &bootloader
                                        &trans      &trans      &trans          &trans      &trans      &trans
                        >;
                };

// ▄▄▄▄▄▄▄▄▄▄▄▄▄▄▄▄▄▄▄▄▄▄▄▄▄▄▄▄▄▄▄▄▄▄▄▄▄▄▄▄▄▄▄▄▄▄▄▄▄▄▄▄▄▄▄▄▄▄▄▄▄▄▄▄▄▄▄▄▄▄▄▄▄▄▄▄▄▄▄▄▄▄▄▄▄▄▄▄▄▄▄▄▄▄▄▄▄▄▄▄▄▄▄▄▄▄▄▄▄▄▄▄▄▄▄▄▄▄▄▄▄▄▄▄▄▄▄▄▄▄▄▄▄▄▄▄▄▄▄▄▄▄▄▄▄▄▄▄▄

                gaming_layer {
// ┏━━━━━━━━━━━━━━━━━━━━━━━━━━━━━━━━━━━━━━━┓
label= "GAMING"                            ;
// ┗━━━━━━━━━━━━━━━━━━━━━━━━━━━━━━━━━━━━━━━┛
//             ┏━━━━━━━━━━━┳━━━━━━━━━━━┳━━━━━━━━━━━┳━━━━━━━━━━━┳━━━━━━━━━━━┓   ┏━━━━━━━━━━━┳━━━━━━━━━━━┳━━━━━━━━━━━┳━━━━━━━━━━━┳━━━━━━━━━━━┓
//             ┃     Q     ┃     W     ┃     E     ┃     R     ┃     T     ┃   ┃     Y     ┃     U     ┃     I     ┃     O     ┃     P     ┃
//             ┣━━━━━━━━━━━╋━━━━━━━━━━━╋━━━━━━━━━━━╋━━━━━━━━━━━╋━━━━━━━━━━━┫   ┣━━━━━━━━━━━╋━━━━━━━━━━━╋━━━━━━━━━━━╋━━━━━━━━━━━╋━━━━━━━━━━━┫
//             ┃     A     ┃     S     ┃     D     ┃     F     ┃     G     ┃   ┃     H     ┃     J     ┃     K     ┃     L     ┃     ;     ┃
// ┏━━━━━━━━━━━╋━━━━━━━━━━━╋━━━━━━━━━━━╋━━━━━━━━━━━╋━━━━━━━━━━━╋━━━━━━━━━━━┫   ┣━━━━━━━━━━━╋━━━━━━━━━━━╋━━━━━━━━━━━╋━━━━━━━━━━━╋━━━━━━━━━━━╋━━━━━━━━━━━┓
// ┃    TAB    ┃     Z     ┃     X     ┃     C     ┃     V     ┃     B     ┃   ┃     N     ┃     M     ┃     ,     ┃     .     ┃     /     ┃    DEL    ┃
// ┗━━━━━━━━━━━┻━━━━━━━━━━━┻━━━━━━━━━━━╋━━━━━━━━━━━╋━━━━━━━━━━━╋━━━━━━━━━━━┫   ┣━━━━━━━━━━━╋━━━━━━━━━━━╋━━━━━━━━━━━╋━━━━━━━━━━━┻━━━━━━━━━━━┻━━━━━━━━━━━┛
//                                     ┃    ESC    ┃   SPACE   ┃    TAB    ┃   ┃    RET    ┃   TRANS   ┃   TRANS   ┃
//                                     ┗━━━━━━━━━━━┻━━━━━━━━━━━┻━━━━━━━━━━━┛   ┗━━━━━━━━━━━┻━━━━━━━━━━━┻━━━━━━━━━━━┛
 bindings = <
// ╷           ╷           ╷           ╷           ╷           ╷           ╷   ╷           ╷           ╷           ╷           ╷           ╷           ╷

                &kp Q       &kp W       &kp E       &kp R       &kp T           &kp Y       &kp U       &kp I       &kp O       &kp P
                &kp A       &kp S       &kp D       &kp F       &kp G           &kp H       &kp J       &kp K       &kp L       &kp SEMI
    &kp TAB     &kp Z       &kp X       &kp C       &kp V       &kp B           &kp N       &kp M       &kp COMMA   &kp DOT     &kp FSLH    &kp DEL
                                        &kp ESC     &kp SPACE   &kp TAB         &kp RET     &trans      &trans
                        >;
                };
        };
};
